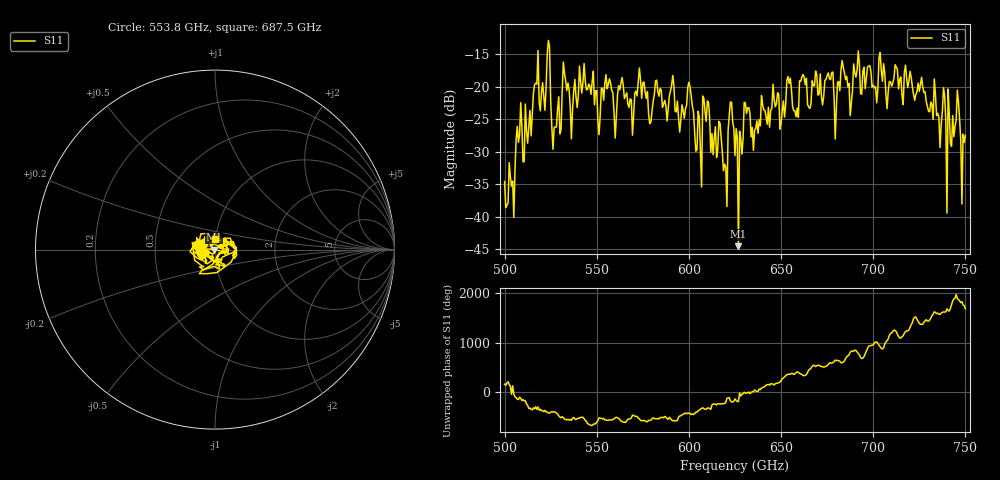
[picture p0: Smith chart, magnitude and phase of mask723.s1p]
!Created with skrf (http://scikit-rf.org).
# GHz S MA R 50.0
!freq magS11 angS11
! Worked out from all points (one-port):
!   401 points, 500 GHz to 750 GHz, reference 50 ohm
!   lowest |S11| = -44.5 dB at 626.9 GHz (marker M1), VSWR 1.01, Z = 49.4 + j0.0394 ohm
!   |S11| at or under -10 dB: start of sweep to end of sweep
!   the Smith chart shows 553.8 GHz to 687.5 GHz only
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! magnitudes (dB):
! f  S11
! 500 GHz  -34.6
! 504.4 GHz  -34.5
! 507.5 GHz  -28.5
! 513.8 GHz  -23.6
! 516.9 GHz  -19.4
! 520.6 GHz  -19.4
! 523.8 GHz  -12.9
! 526.9 GHz  -26.3
! 531.2 GHz  -20.6
! 562.5 GHz  -20.5
! 593.8 GHz  -22.2
! 600.6 GHz  -20.0
! 605.6 GHz  -24.7
! 609.4 GHz  -25.3
! 619.4 GHz  -31.9
! 622.5 GHz  -22.3
! 625 GHz  -30.6
! 626.9 GHz  -44.5
! 631.2 GHz  -24.1
! 635 GHz  -29.8
! 656.2 GHz  -23.0
! 676.9 GHz  -18.9
! 680 GHz  -23.1
! 683.8 GHz  -17.0
! 687.5 GHz  -24.4
! 690.6 GHz  -18.5
! 718.8 GHz  -20.1
! 750 GHz  -27.5
